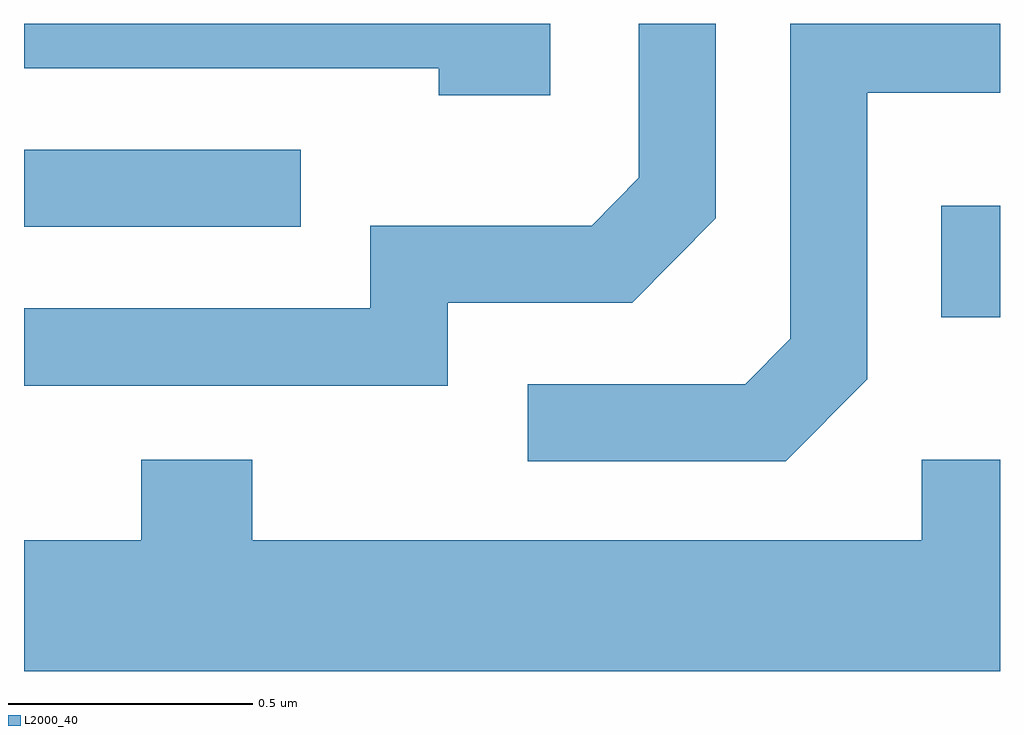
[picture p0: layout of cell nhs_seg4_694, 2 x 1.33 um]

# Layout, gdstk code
import gdstk
lib = gdstk.Library(unit=1e-6, precision=1e-09)
def R(c, l, rs):  # rectangles x0, y0, x1, y1
    for r in rs: c.add(gdstk.rectangle(r[:2], r[2:], *l))
def P(c, l, *ps):  # polygons
    for p in ps: c.add(gdstk.Polygon(p, *l))
L2000_40 = (2000, 40)

nhs_seg4_694 = lib.new_cell('nhs_seg4_694')
R(nhs_seg4_694, L2000_40, [(192.491,1264.381,192.611,1264.609), (190.611,1264.566,191.178,1264.724)])
P(nhs_seg4_694, L2000_40, [(191.689,1264.982),(190.611,1264.982),(190.611,1264.891),(191.461,1264.891),(191.461,1264.836),(191.689,1264.836)],
  [(192.339,1264.254),(192.339,1264.841),(192.611,1264.841),(192.611,1264.982),(192.181,1264.982),(192.181,1264.337),(192.089,1264.244),(191.643,1264.244),(191.643,1264.086),(192.172,1264.086)],
  [(191.479,1264.411),(191.857,1264.411),(192.029,1264.584),(192.029,1264.982),(191.871,1264.982),(191.871,1264.667),(191.774,1264.569),(191.321,1264.569),(191.321,1264.399),(190.611,1264.399),(190.611,1264.241),(191.479,1264.241)],
  [(192.611,1264.089),(192.451,1264.089),(192.451,1263.924),(191.079,1263.924),(191.079,1264.089),(190.851,1264.089),(190.851,1263.924),(190.611,1263.924),(190.611,1263.656),(192.611,1263.656)])

lib.write_gds('nhs_seg4_694.gds')
